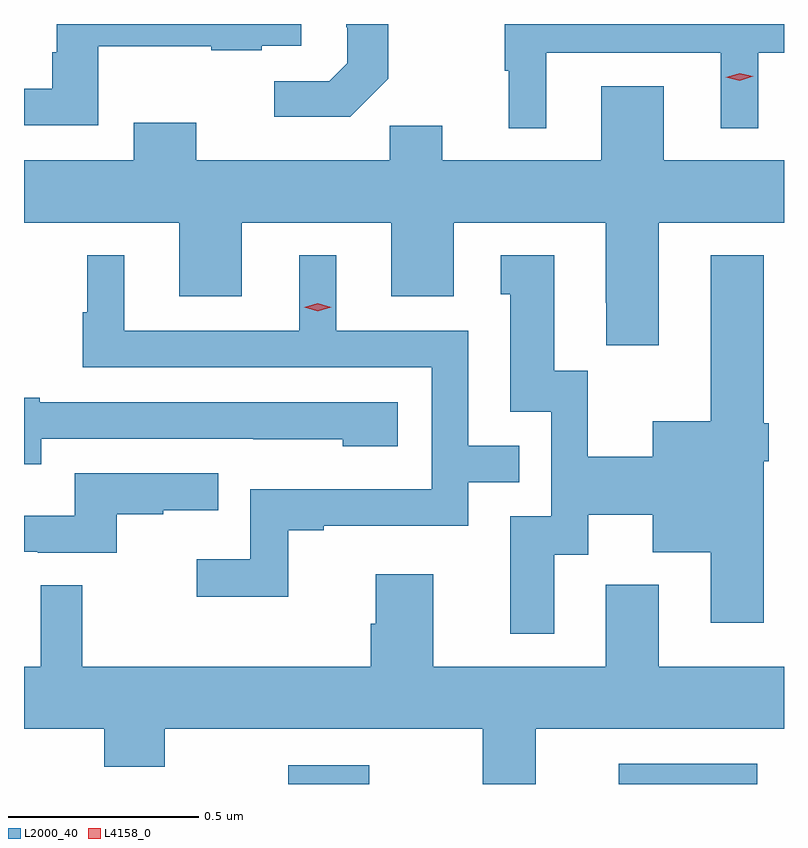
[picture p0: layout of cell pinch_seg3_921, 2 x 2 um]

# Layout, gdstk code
import gdstk
lib = gdstk.Library(unit=1e-6, precision=1e-09)
def R(c, l, rs):  # rectangles x0, y0, x1, y1
    for r in rs: c.add(gdstk.rectangle(r[:2], r[2:], *l))
def P(c, l, *ps):  # polygons
    for p in ps: c.add(gdstk.Polygon(p, *l))
L2000_40 = (2000, 40)
L4158_0 = (4158, 0)

pinch_seg3_921 = lib.new_cell('pinch_seg3_921')
R(pinch_seg3_921, L2000_40, [(822.615,675.463,822.829,675.513), (823.485,675.463,823.849,675.516)])
P(pinch_seg3_921, L2000_40, [(823.294,677.388),(823.754,677.388),(823.754,677.189),(823.852,677.189),(823.852,677.388),(823.92,677.388),(823.92,677.463),(823.185,677.463),(823.185,677.34),(823.196,677.34),(823.196,677.189),(823.294,677.189)],
  [(822.879,677.319),(822.879,677.463),(822.768,677.463),(822.768,677.455),(822.77,677.455),(822.77,677.36),(822.723,677.313),(822.579,677.313),(822.579,677.219),(822.779,677.219)],
  [(822.115,677.405),(822.413,677.405),(822.413,677.394),(822.545,677.394),(822.545,677.406),(822.649,677.406),(822.649,677.463),(822.006,677.463),(822.006,677.389),(821.994,677.389),(821.994,677.293),(821.92,677.293),(821.92,677.196),(822.115,677.196)],
  [(823.591,676.94),(823.92,676.94),(823.92,677.104),(823.603,677.104),(823.603,677.299),(823.439,677.299),(823.439,677.104),(823.021,677.104),(823.021,677.195),(822.883,677.195),(822.883,677.104),(822.373,677.104),(822.373,677.203),(822.209,677.203),(822.209,677.104),(821.92,677.104),(821.92,676.94),(822.329,676.94),(822.329,676.746),(822.493,676.746),(822.493,676.94),(822.887,676.94),(822.887,676.746),(823.051,676.746),(823.051,676.94),(823.451,676.94),(823.451,676.729),(823.452,676.729),(823.452,676.617),(823.591,676.617)],
  [(823.315,676.066),(823.405,676.066),(823.405,676.172),(823.574,676.172),(823.574,676.073),(823.727,676.073),(823.727,675.888),(823.867,675.888),(823.867,676.313),(823.88,676.313),(823.88,676.413),(823.867,676.413),(823.867,676.855),(823.727,676.855),(823.727,676.417),(823.574,676.417),(823.574,676.324),(823.404,676.324),(823.404,676.551),(823.315,676.551),(823.315,676.855),(823.175,676.855),(823.175,676.752),(823.199,676.752),(823.199,676.443),(823.308,676.443),(823.308,676.167),(823.199,676.167),(823.199,675.858),(823.315,675.858)],
  [(822.615,676.131),(822.709,676.131),(822.709,676.143),(823.089,676.143),(823.089,676.257),(823.223,676.257),(823.223,676.353),(823.089,676.353),(823.089,676.656),(822.742,676.656),(822.742,676.855),(822.644,676.855),(822.644,676.656),(822.184,676.656),(822.184,676.855),(822.086,676.855),(822.086,676.704),(822.075,676.704),(822.075,676.56),(822.993,676.56),(822.993,676.239),(822.516,676.239),(822.516,676.054),(822.375,676.054),(822.375,675.956),(822.615,675.956)],
  [(821.965,676.371),(822.523,676.371),(822.523,676.37),(822.759,676.37),(822.759,676.352),(822.904,676.352),(822.904,676.467),(821.961,676.467),(821.961,676.48),(821.92,676.48),(821.92,676.304),(821.965,676.304)],
  [(822.164,676.173),(822.287,676.173),(822.287,676.184),(822.431,676.184),(822.431,676.281),(822.054,676.281),(822.054,676.169),(821.92,676.169),(821.92,676.074),(821.956,676.074),(821.956,676.071),(822.164,676.071)],
  [(823.267,675.608),(823.92,675.608),(823.92,675.772),(823.591,675.772),(823.591,675.988),(823.451,675.988),(823.451,675.772),(822.997,675.772),(822.997,676.015),(822.845,676.015),(822.845,675.885),(822.833,675.885),(822.833,675.772),(822.073,675.772),(822.073,675.986),(821.964,675.986),(821.964,675.772),(821.92,675.772),(821.92,675.608),(822.131,675.608),(822.131,675.509),(822.291,675.509),(822.291,675.608),(823.127,675.608),(823.127,675.463),(823.267,675.463)])
P(pinch_seg3_921, L4158_0, [(823.803,677.314),(823.767,677.323),(823.767,677.323),(823.767,677.323),(823.803,677.334),(823.839,677.326),(823.839,677.326),(823.839,677.326)],
  [(822.693,676.707),(822.657,676.717),(822.657,676.718),(822.657,676.718),(822.693,676.728),(822.729,676.718),(822.729,676.718),(822.729,676.717)])

lib.write_gds('pinch_seg3_921.gds')
